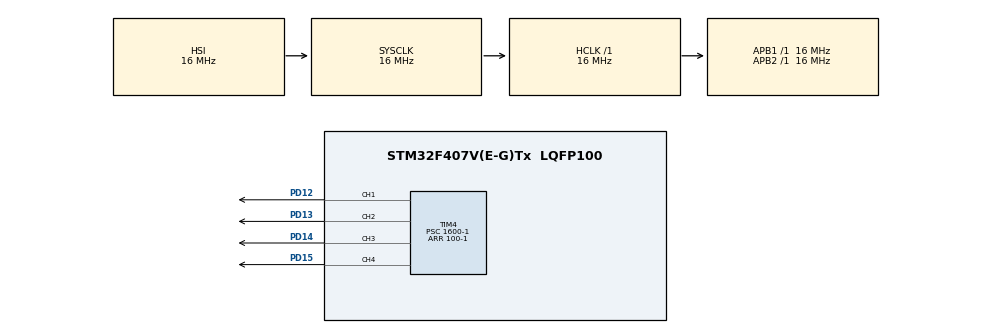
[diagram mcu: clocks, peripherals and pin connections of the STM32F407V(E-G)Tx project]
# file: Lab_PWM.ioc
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Mcu.Family=STM32F4
Mcu.Name=STM32F407V(E-G)Tx
Mcu.Package=LQFP100
NVIC.PriorityGroup=NVIC_PRIORITYGROUP_4
PA13.Mode=Serial_Wire
PA13.Signal=SYS_JTMS-SWDIO
PA14.Mode=Serial_Wire
PA14.Signal=SYS_JTCK-SWCLK
PD12.Signal=S_TIM4_CH1
PD13.Signal=S_TIM4_CH2
PD14.Signal=S_TIM4_CH3
PD15.Signal=S_TIM4_CH4
ProjectManager.HeapSize=0x200
ProjectManager.StackSize=0x400
ProjectManager.TargetToolchain=MDK-ARM V5.32
RCC.AHBFreq_Value=16000000
RCC.APB1Freq_Value=16000000
RCC.APB2Freq_Value=16000000
RCC.CortexFreq_Value=16000000
RCC.HSE_VALUE=25000000
RCC.HSI_VALUE=16000000
RCC.LSE_VALUE=32768
RCC.SYSCLKFreq_VALUE=16000000
RCC.VCOOutputFreq_Value=192000000
SH.S_TIM4_CH1.0=TIM4_CH1,PWM Generation1 CH1
SH.S_TIM4_CH2.0=TIM4_CH2,PWM Generation2 CH2
SH.S_TIM4_CH3.0=TIM4_CH3,PWM Generation3 CH3
SH.S_TIM4_CH4.0=TIM4_CH4,PWM Generation4 CH4
TIM4.Channel-PWM\ Generation1\ CH1=TIM_CHANNEL_1
TIM4.Channel-PWM\ Generation2\ CH2=TIM_CHANNEL_2
TIM4.Channel-PWM\ Generation3\ CH3=TIM_CHANNEL_3
TIM4.Channel-PWM\ Generation4\ CH4=TIM_CHANNEL_4
TIM4.Period=100-1
TIM4.Prescaler=1600-1
TIM4.Pulse-PWM\ Generation1\ CH1=25-1
VP_TIM4_VS_ClockSourceINT.Mode=Internal
board=custom

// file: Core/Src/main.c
/* USER CODE BEGIN Header */
/**
  ******************************************************************************
  * @file           : main.c
  * @brief          : Main program body
  ******************************************************************************
  * @attention
  *
  * Copyright (c) 2024 STMicroelectronics.
  * All rights reserved.
  *
  * This software is licensed under terms that can be found in the LICENSE file
  * in the root directory of this software component.
  * If no LICENSE file comes with this software, it is provided AS-IS.
  *
  ******************************************************************************
  */
/* USER CODE END Header */
#include "main.h"
#include "tim.h"
#include "gpio.h"

/* USER CODE BEGIN PD */
/* Period PWM 0..99 */
#define MAX_POWER_LED 100
/* USER CODE END PD */

/* USER CODE BEGIN PV */
uint32_t power_led_green = 0;
uint32_t power_led_orange = 25;
uint32_t power_led_red = 50;
uint32_t power_led_blue = 75;
/* USER CODE END PV */

void SystemClock_Config(void);

int main(void)
{

  /* MCU Configuration--------------------------------------------------------*/

  /* Reset of all peripherals, Initializes the Flash interface and the Systick. */
  HAL_Init();

  /* Configure the system clock */
  SystemClock_Config();

  /* Initialize all configured peripherals */
  MX_GPIO_Init();
  MX_TIM4_Init();
  /* USER CODE BEGIN 2 */
  HAL_TIM_PWM_Start(&htim4, TIM_CHANNEL_1);
  HAL_TIM_PWM_Start(&htim4, TIM_CHANNEL_2);
  HAL_TIM_PWM_Start(&htim4, TIM_CHANNEL_3);
  HAL_TIM_PWM_Start(&htim4, TIM_CHANNEL_4);

  /* USER CODE END 2 */

  /* Infinite loop */
  /* USER CODE BEGIN WHILE */
  while (1)
  {

      __HAL_TIM_SET_COMPARE(&htim4, TIM_CHANNEL_1, power_led_green);
      __HAL_TIM_SET_COMPARE(&htim4, TIM_CHANNEL_2, power_led_orange);
      __HAL_TIM_SET_COMPARE(&htim4, TIM_CHANNEL_3, power_led_red);
      __HAL_TIM_SET_COMPARE(&htim4, TIM_CHANNEL_4, power_led_blue);
      HAL_Delay(100);
      power_led_green += 10;
      power_led_orange += 10;
      power_led_red += 10;
      power_led_blue += 10;
      if (power_led_green > MAX_POWER_LED)
      {
          power_led_green = 0;
      }
      if (power_led_orange > MAX_POWER_LED)
      {
          power_led_orange = 0;
      }
      if (power_led_red > MAX_POWER_LED)
      {
          power_led_red = 0;
      }
      if (power_led_blue > MAX_POWER_LED)
      {
          power_led_blue = 0;
      }
    /* USER CODE END WHILE */

  }
}

void SystemClock_Config(void)
{
  RCC_OscInitTypeDef RCC_OscInitStruct = {0};
  RCC_ClkInitTypeDef RCC_ClkInitStruct = {0};

  /** Configure the main internal regulator output voltage
  */
  __HAL_RCC_PWR_CLK_ENABLE();
  __HAL_PWR_VOLTAGESCALING_CONFIG(PWR_REGULATOR_VOLTAGE_SCALE1);

  /** Initializes the RCC Oscillators according to the specified parameters
  * in the RCC_OscInitTypeDef structure.
  */
  RCC_OscInitStruct.OscillatorType = RCC_OSCILLATORTYPE_HSI;
  RCC_OscInitStruct.HSIState = RCC_HSI_ON;
  RCC_OscInitStruct.HSICalibrationValue = RCC_HSICALIBRATION_DEFAULT;
  RCC_OscInitStruct.PLL.PLLState = RCC_PLL_NONE;
  if (HAL_RCC_OscConfig(&RCC_OscInitStruct) != HAL_OK)
  {
    Error_Handler();
  }

  /** Initializes the CPU, AHB and APB buses clocks
  */
  RCC_ClkInitStruct.ClockType = RCC_CLOCKTYPE_HCLK|RCC_CLOCKTYPE_SYSCLK
                              |RCC_CLOCKTYPE_PCLK1|RCC_CLOCKTYPE_PCLK2;
  RCC_ClkInitStruct.SYSCLKSource = RCC_SYSCLKSOURCE_HSI;
  RCC_ClkInitStruct.AHBCLKDivider = RCC_SYSCLK_DIV1;
  RCC_ClkInitStruct.APB1CLKDivider = RCC_HCLK_DIV1;
  RCC_ClkInitStruct.APB2CLKDivider = RCC_HCLK_DIV1;

  if (HAL_RCC_ClockConfig(&RCC_ClkInitStruct, FLASH_LATENCY_0) != HAL_OK)
  {
    Error_Handler();
  }
}

void Error_Handler(void)
{
  __disable_irq();
  while (1)
  {
  }
}
